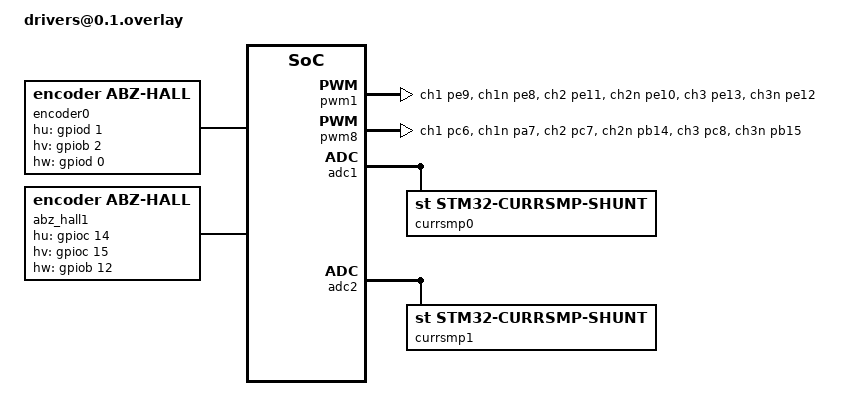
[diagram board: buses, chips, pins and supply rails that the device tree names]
/* 必须有根节点 /，然后把要修改/新增的内容写在里面 */
/ {
	/* 统一把 motors 放在根节点下，避免散落在各处 */
	motors {
		motor0: motor_0 {
			compatible = "motor-bldc";
			control-algorithm = <&foc0>;
			feedback = <&encoder0>;
			currsmp  = <&currsmp0>;
			pwm      = <&pwm1>;
			status   = "okay";
		};

		motor1: motor_1 {
			compatible = "motor-bldc";
			control-algorithm = <&foc1>;
			feedback = <&abz_hall1>;
			currsmp  = <&currsmp1>;
			pwm      = <&pwm8>;
			status   = "disabled";
		};
	};

	control_algorithm {
		foc0: ctrl_algo0 {
			compatible = "foc-ctrl-algo";
			modulate = <1>;
			status   = "okay";
		};

		foc1: ctrl_algo1 {
			compatible = "foc-ctrl-algo";
			modulate = <0>;
			status   = "okay";
		};
	};
};

/* 以下全部是“追加/覆盖”已存在的外设节点，用 &label {} 语法 */
&timers1 {
	pwm1: pwm {
		compatible = "st,stm32-pwm-custom";
		pinctrl-0 = <&tim1_ch1_pe9  &tim1_ch1n_pe8
			     &tim1_ch2_pe11 &tim1_ch2n_pe10
			     &tim1_ch3_pe13 &tim1_ch3n_pe12>;
		pinctrl-names = "default";
		timing-params = <120 13750 0>;
		slave = <0>;
		status = "okay";
	};
};

&timers8 {
	pwm8: pwm {
		compatible = "st,stm32-pwm-custom";
		pinctrl-0 = <&tim8_ch1_pc6 &tim8_ch1n_pa7
			     &tim8_ch2_pc7 &tim8_ch2n_pb14
			     &tim8_ch3_pc8 &tim8_ch3n_pb15>;
		pinctrl-names = "default";
		timing-params = <120 13750 0>;
		slave = <1>;
		status = "okay";
	};
};

&timers4 {
	encoder0: super_400w_lun {
		compatible = "encoder,abz-hall";
		pinctrl-0 = <&tim4_ch1_pb6 &tim4_ch2_pb7>;
		pinctrl-names = "default";
		lines       = <4096>;
		pole-pairs  = <15>;
		hu-gpios    = <&gpiod 1 GPIO_ACTIVE_HIGH>;
		hv-gpios    = <&gpiob 2 GPIO_ACTIVE_HIGH>;
		hw-gpios    = <&gpiod 0 GPIO_ACTIVE_HIGH>;
		status      = "okay";
	};
};

&timers3 {
	abz_hall1: abz_hall {
		compatible = "encoder,abz-hall";
		pinctrl-0 = <&tim3_ch1_pb4 &tim3_ch2_pb5>;
		pinctrl-names = "default";
		lines      = <4096>;
		pole-pairs = <15>;
		hu-gpios   = <&gpioc 14 GPIO_ACTIVE_HIGH>;
		hv-gpios   = <&gpioc 15 GPIO_ACTIVE_HIGH>;
		hw-gpios   = <&gpiob 12 GPIO_ACTIVE_HIGH>;
		status     = "okay";
	};
};

&adc1 {
	currsmp0: currsmp {
		compatible = "st,stm32-currsmp-shunt";
		pinctrl-0 = <&adc1_inp15_pa3 &adc1_inp4_pc4
			     &adc1_inp16_pa0 &adc1_inp17_pa1
			     &adc1_inp14_pa2>;
		pinctrl-names = "default";
		adc-channels = <15 4 16 17 14>;
		adc-slave = <0>;
		status = "okay";
	};
};

&adc2 {
	currsmp1: currsmp {
		compatible = "st,stm32-currsmp-shunt";
		pinctrl-0 = <&adc2_inp8_pc5 &adc2_inp9_pb0 &adc2_inp5_pb1>;
		pinctrl-names = "default";
		adc-channels = <8 9 5>;
		adc-slave = <1>;
		status = "okay";
	};
};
